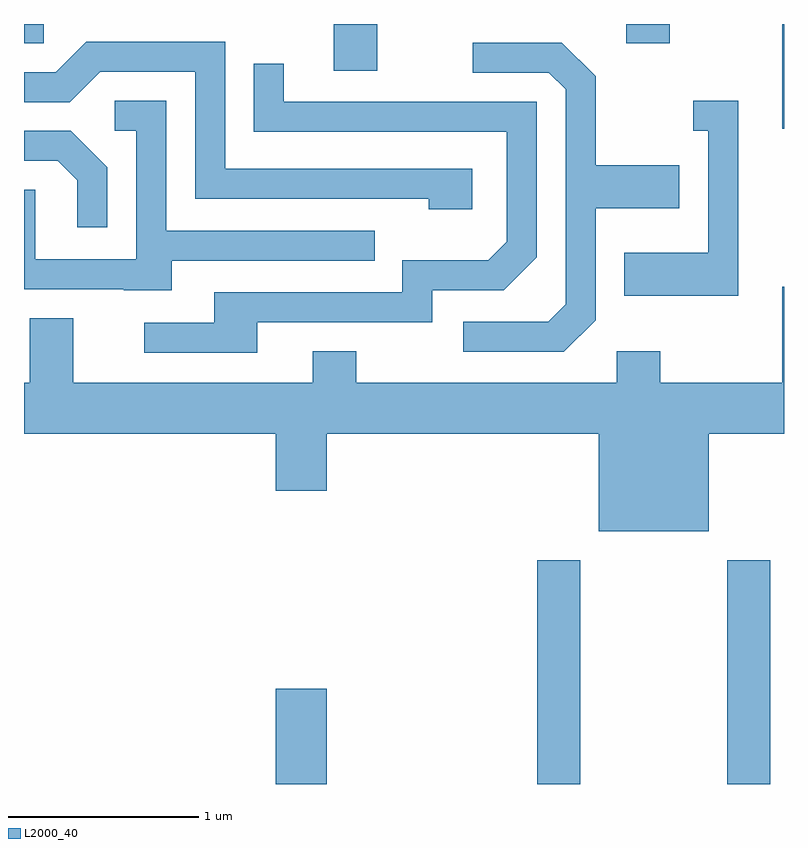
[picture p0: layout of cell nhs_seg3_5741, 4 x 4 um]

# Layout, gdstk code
import gdstk
lib = gdstk.Library(unit=1e-6, precision=1e-09)
def R(c, l, rs):  # rectangles x0, y0, x1, y1
    for r in rs: c.add(gdstk.rectangle(r[:2], r[2:], *l))
def P(c, l, *ps):  # polygons
    for p in ps: c.add(gdstk.Polygon(p, *l))
L2000_40 = (2000, 40)

nhs_seg3_5741 = lib.new_cell('nhs_seg3_5741')
R(nhs_seg3_5741, L2000_40, [(354.936,1181.892,355.204,1182.394), (356.311,1181.892,356.539,1183.069), (357.311,1181.892,357.539,1183.069), (357.601,1185.341,357.611,1185.892), (355.241,1185.646,355.469,1185.892), (353.611,1185.791,353.714,1185.892), (356.781,1185.791,357.009,1185.892)])
P(nhs_seg3_5741, L2000_40, [(355.969,1185.129),(354.669,1185.129),(354.669,1185.799),(353.939,1185.799),(353.779,1185.639),(353.611,1185.639),(353.611,1185.481),(353.852,1185.481),(354.012,1185.641),(354.511,1185.641),(354.511,1184.971),(355.741,1184.971),(355.741,1184.916),(355.969,1184.916)],
  [(356.619,1184.334),(356.619,1184.921),(357.059,1184.921),(357.059,1185.149),(356.619,1185.149),(356.619,1185.617),(356.442,1185.794),(355.973,1185.794),(355.973,1185.636),(356.374,1185.636),(356.461,1185.549),(356.461,1184.417),(356.369,1184.324),(355.923,1184.324),(355.923,1184.166),(356.452,1184.166)],
  [(354.839,1184.321),(355.759,1184.321),(355.759,1184.491),(356.137,1184.491),(356.309,1184.664),(356.309,1185.484),(354.979,1185.484),(354.979,1185.683),(354.821,1185.683),(354.821,1185.326),(356.151,1185.326),(356.151,1184.747),(356.054,1184.649),(355.601,1184.649),(355.601,1184.479),(354.611,1184.479),(354.611,1184.319),(354.243,1184.319),(354.243,1184.161),(354.839,1184.161)],
  [(357.369,1185.489),(357.133,1185.489),(357.133,1185.331),(357.211,1185.331),(357.211,1184.689),(356.771,1184.689),(356.771,1184.461),(357.369,1184.461)],
  [(354.389,1184.646),(355.458,1184.646),(355.458,1184.804),(354.359,1184.804),(354.359,1185.489),(354.088,1185.489),(354.088,1185.331),(354.201,1185.331),(354.201,1184.654),(353.669,1184.654),(353.669,1185.019),(353.611,1185.019),(353.611,1184.496),(354.135,1184.496),(354.135,1184.491),(354.389,1184.491)],
  [(354.049,1185.137),(353.857,1185.329),(353.611,1185.329),(353.611,1185.171),(353.789,1185.171),(353.891,1185.069),(353.891,1184.823),(354.049,1184.823)],
  [(357.214,1183.736),(357.611,1183.736),(357.611,1184.509),(357.601,1184.509),(357.601,1184.004),(356.959,1184.004),(356.959,1184.169),(356.731,1184.169),(356.731,1184.004),(355.359,1184.004),(355.359,1184.169),(355.131,1184.169),(355.131,1184.004),(353.869,1184.004),(353.869,1184.344),(353.641,1184.344),(353.641,1184.004),(353.611,1184.004),(353.611,1183.736),(354.936,1183.736),(354.936,1183.436),(355.204,1183.436),(355.204,1183.736),(356.636,1183.736),(356.636,1183.221),(357.214,1183.221)])

lib.write_gds('nhs_seg3_5741.gds')
